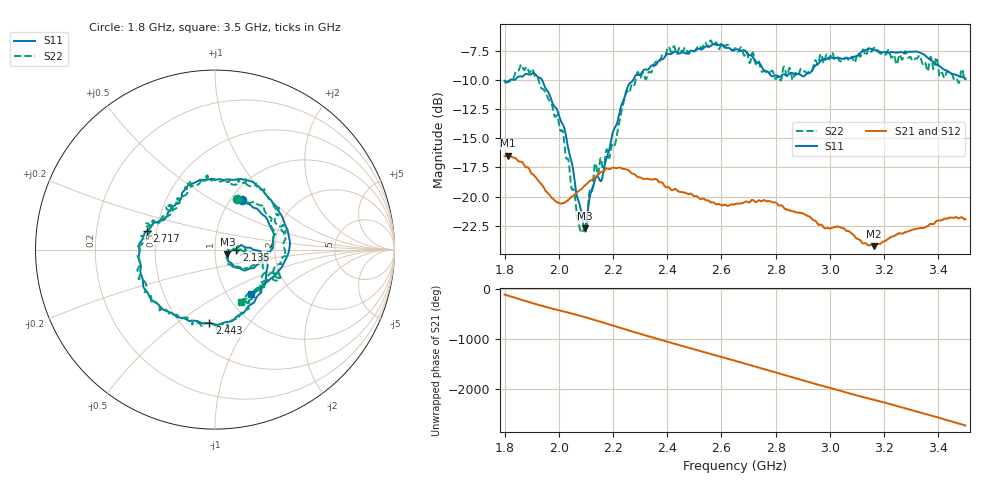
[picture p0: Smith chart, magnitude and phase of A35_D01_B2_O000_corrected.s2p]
! Created with skrf 1.9.0 (http://scikit-rf.org).
# Hz S RI R 50.0
!freq ReS11 ImS11 ReS21 ImS21 ReS12 ImS12 ReS22 ImS22
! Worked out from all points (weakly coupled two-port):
!   1601 points, 1.8 GHz to 3.5 GHz, reference 50 ohm
!   highest |S21| = -16.50 dB at 1.812 GHz (marker M1); lowest = -24.3 dB at 3.162 GHz (marker M2)
!   lowest |S11| = -22.7 dB at 2.095 GHz (marker M3), VSWR 1.16, Z = 57.3 - j2.74 ohm
!   |S11| at or under -10 dB: start of sweep to 1.82 GHz; 1.938 GHz to 2.274 GHz (336.1 MHz wide, 16 % of centre)
!   |S22| runs from -23.1 to -6.6 dB; largest |S21 - S12| = 0.0028
!   S11 on the Smith chart (normalised r, x): 1.8 GHz: 1.12, +0.69; 2.135 GHz: 1.27, -0.00; 2.443 GHz: 0.67, -0.66; 2.717 GHz: 0.44, +0.11; 3.5 GHz: 1.27, -0.71
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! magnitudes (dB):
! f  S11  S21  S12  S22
! 1.8 GHz  -10.1  -16.5  -16.5  -10.3
! 1.812 GHz  -10.1  -16.5  -16.5  -10.2
! 1.859 GHz  -9.7  -17.0  -17.1  -8.7
! 1.901 GHz  -9.5  -18.1  -18.0  -9.0
! 1.968 GHz  -11.4  -19.9  -20.0  -11.8
! 2.021 GHz  -14.2  -20.5  -20.5  -15.6
! 2.084 GHz  -21.5  -19.3  -19.3  -23.1
! 2.095 GHz  -22.7  -19.1  -19.1  -22.9
! 2.135 GHz  -18.5  -18.3  -18.3  -17.1
! 2.159 GHz  -18.5  -17.9  -17.8  -17.2
! 2.207 GHz  -14.1  -17.5  -17.5  -15.6
! 2.258 GHz  -10.4  -17.8  -17.8  -11.1
! 2.367 GHz  -8.4  -18.7  -18.6  -8.5
! 2.443 GHz  -7.7  -19.6  -19.6  -7.3
! 2.65 GHz  -7.4  -20.7  -20.6  -7.3
! 2.717 GHz  -8.1  -20.3  -20.3  -7.7
! 2.812 GHz  -9.7  -20.8  -20.7  -9.7
! 2.934 GHz  -9.2  -21.9  -21.9  -9.2
! 3.162 GHz  -7.4  -24.3  -24.2  -7.3
! 3.217 GHz  -7.6  -23.6  -23.6  -7.5
! 3.326 GHz  -7.6  -22.7  -22.7  -8.0
! 3.5 GHz  -9.9  -21.9  -21.9  -9.8
